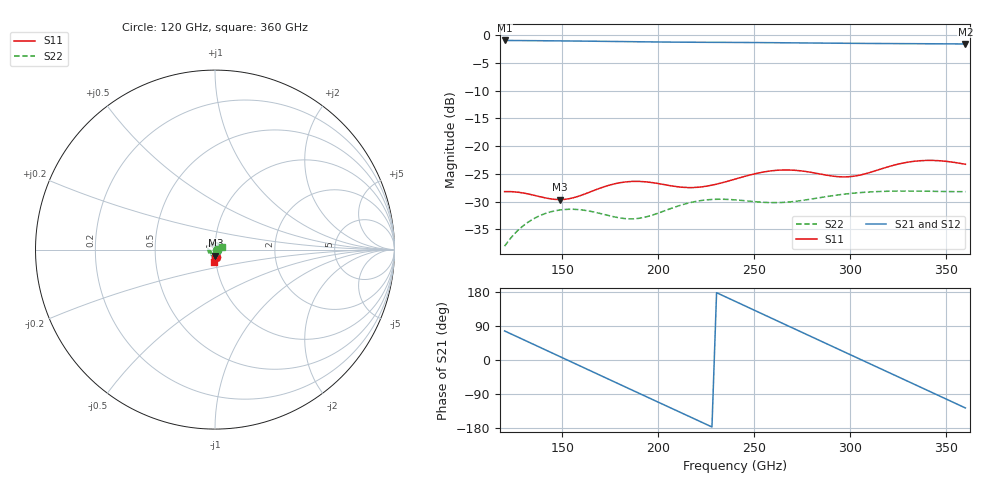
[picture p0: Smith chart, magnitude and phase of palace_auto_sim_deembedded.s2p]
! Created with skrf 1.11.0 (http://scikit-rf.org).
# GHz S DB R 50.0
!freq dBS11 angS11 dBS21 angS21 dBS12 angS12 dBS22 angS22
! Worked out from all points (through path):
!   101 points, 120 GHz to 360 GHz, reference 50 ohm
!   highest |S21| = -0.98 dB at 120 GHz (marker M1); lowest = -1.6 dB at 360 GHz (marker M2)
!   group delay of S21, straight-line fit = 6.52 ps
!   lowest |S11| = -29.6 dB at 148.8 GHz (marker M3), VSWR 1.07, Z = 50.1 - j3.31 ohm
!   |S11| at or under -10 dB: start of sweep to end of sweep
!   |S22| runs from -38.0 to -28.1 dB; largest |S21 - S12| = 1.5e-13
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120  -28.18 -81.5  -0.98 76.7  -0.98 76.7  -38.01 -7.6
136.8  -28.97 -91.0  -1.02 37.2  -1.02 37.2  -32.77 -48.8
148.8  -29.62 -86.6  -1.06 9.0  -1.06 9.0  -31.49 -84.0
160.8  -28.74 -79.5  -1.10 -19.2  -1.10 -19.2  -31.51 -124.6
172.8  -27.21 -80.5  -1.15 -47.4  -1.15 -47.4  -32.38 -173.3
182.4  -26.47 -85.7  -1.19 -70.0  -1.19 -70.0  -33.04 140.2
192  -26.39 -91.4  -1.22 -92.5  -1.22 -92.5  -32.87 89.4
201.6  -26.83 -94.4  -1.26 -115.0  -1.26 -115.0  -31.86 40.3
220.8  -27.40 -88.1  -1.31 -159.9  -1.31 -159.9  -29.88 -46.9
230.4  -26.84 -83.7  -1.32 177.6  -1.32 177.6  -29.57 -88.6
240  -25.94 -81.9  -1.34 155.1  -1.34 155.1  -29.67 -131.3
252  -24.85 -84.1  -1.36 126.8  -1.36 126.8  -30.05 172.4
261.6  -24.36 -88.4  -1.39 104.2  -1.39 104.2  -30.17 125.0
271.2  -24.35 -92.8  -1.42 81.7  -1.42 81.7  -29.95 77.3
280.8  -24.79 -95.2  -1.44 59.1  -1.44 59.1  -29.47 30.8
292.8  -25.47 -92.4  -1.48 31.0  -1.48 31.0  -28.83 -25.0
302.4  -25.39 -86.3  -1.50 8.5  -1.50 8.5  -28.45 -68.5
312  -24.56 -82.0  -1.52 -14.0  -1.52 -14.0  -28.22 -112.0
321.6  -23.54 -82.2  -1.54 -36.5  -1.54 -36.5  -28.11 -156.0
340.8  -22.57 -90.0  -1.57 -81.5  -1.57 -81.5  -28.12 113.4
350.4  -22.76 -93.6  -1.59 -104.0  -1.59 -104.0  -28.18 67.0
360  -23.27 -94.9  -1.61 -126.6  -1.61 -126.6  -28.19 19.8
